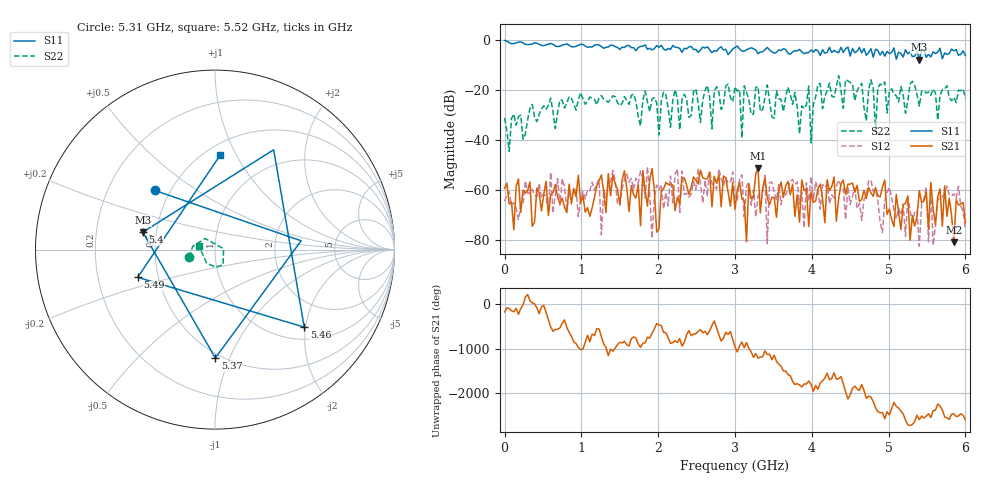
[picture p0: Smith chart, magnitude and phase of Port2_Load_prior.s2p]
#  HZ  S  DB  R  50.0
! Rohde & Schwarz ZVL13 2Ports - Version 3.20 - 1303.6509k13 SN: 100953
! Date: 2024-10-21 06:11:50
! Data & Calibration Information:
! Trc1:S11(Cal Off) Trc4:S21(Cal Off) Trc2:S12(Cal Off) Trc3:S22(Cal Off)
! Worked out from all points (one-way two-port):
!   201 points, 5 kHz to 6 GHz, reference 50 ohm
!   highest |S21| = -51.20 dB at 3.3 GHz (marker M1); lowest = -80.9 dB at 5.85 GHz (marker M2)
!   lowest |S11| = -7.7 dB at 5.4 GHz (marker M3), VSWR 2.41, Z = 21 + j4.92 ohm
!   |S11| at or under -10 dB: nowhere
!   |S22| runs from -44.4 to -14.1 dB; largest |S21 - S12| = 0.0046
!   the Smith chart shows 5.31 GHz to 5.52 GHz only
!   S11 on the Smith chart (normalised r, x): 5.31 GHz: 0.41, +0.35; 5.37 GHz: 0.47, -0.89; 5.4 GHz: 0.42, +0.10; 5.46 GHz: 1.29, -1.97; 5.49 GHz: 0.38, -0.15; 5.52 GHz: 0.59, +0.86
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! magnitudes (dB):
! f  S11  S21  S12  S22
! 5 kHz  0.0  -59.3  -64.5  -31.1
! 1.02 GHz  -1.6  -62.2  -60.5  -23.4
! 1.23 GHz  -1.8  -56.3  -55.8  -23.1
! 1.26 GHz  -2.5  -53.9  -77.9  -22.1
! 1.86 GHz  -3.6  -66.4  -50.6  -24.7
! 1.92 GHz  -3.8  -51.4  -79.3  -23.4
! 2.01 GHz  -2.7  -75.4  -59.9  -37.9
! 2.55 GHz  -3.9  -52.0  -57.1  -32.9
! 3 GHz  -2.9  -67.8  -63.8  -18.7
! 3.15 GHz  -3.7  -80.7  -58.3  -20.9
! 3.3 GHz  -5.3  -51.2  -62.4  -18.5
! 4.02 GHz  -4.7  -64.8  -64.0  -25.6
! 5.01 GHz  -5.3  -67.6  -59.0  -20.6
! 5.31 GHz  -6.5  -70.2  -72.8  -16.4
! 5.37 GHz  -4.4  -70.6  -68.3  -21.7
! 5.4 GHz  -7.7  -60.2  -82.5  -26.4
! 5.46 GHz  -3.6  -64.4  -63.5  -20.1
! 5.49 GHz  -6.8  -60.7  -58.7  -21.1
! 5.52 GHz  -5.6  -75.7  -80.7  -20.7
! 5.73 GHz  -5.0  -58.3  -61.3  -19.5
! 5.85 GHz  -4.2  -80.9  -61.4  -22.8
! 6 GHz  -6.1  -72.9  -75.5  -23.2
